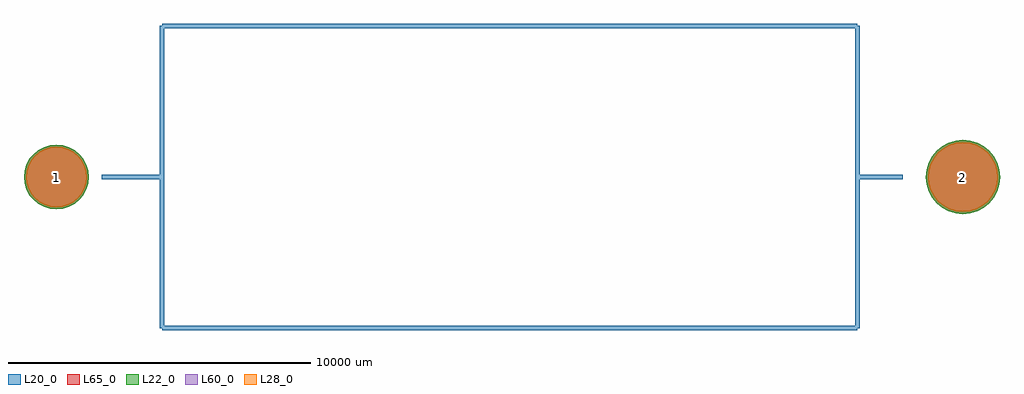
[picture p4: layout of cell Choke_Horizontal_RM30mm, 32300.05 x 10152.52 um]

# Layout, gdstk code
import gdstk
lib = gdstk.Library(unit=1e-6, precision=1e-09)
def P(c, l, *ps):  # polygons
    for p in ps: c.add(gdstk.Polygon(p, *l))
L20_0 = (20, 0)
L22_0 = (22, 0)
L28_0 = (28, 0)
L60_0 = (60, 0)
L65_0 = (65, 0)

choke_horizontal_rm30mm = lib.new_cell('Choke_Horizontal_RM30mm')
P(choke_horizontal_rm30mm, L22_0, [(16224.32,0),(16200.77,239.107),(16131.025,469.024),(16017.766,680.918),(15865.344,866.644),(15679.618,1019.066),(15467.724,1132.325),(15237.807,1202.07),(14998.7,1225.62),(14759.593,1202.07),(14529.676,1132.325),(14317.782,1019.066),(14132.056,866.644),(13979.634,680.918),(13866.375,469.024),(13796.63,239.107),(13773.08,0),(13796.63,-239.107),(13866.375,-469.024),(13979.634,-680.918),(14132.056,-866.644),(14317.782,-1019.066),(14529.676,-1132.325),(14759.593,-1202.07),(14998.7,-1225.62),(15237.807,-1202.07),(15467.724,-1132.325),(15679.618,-1019.066),(15865.344,-866.644),(16017.766,-680.918),(16131.025,-469.024),(16200.77,-239.107)],
  [(-13926.75,0),(-13947.396,209.623),(-14008.541,411.19),(-14107.834,596.955),(-14241.461,759.779),(-14404.285,893.406),(-14590.05,992.699),(-14791.617,1053.844),(-15001.24,1074.49),(-15210.863,1053.844),(-15412.43,992.699),(-15598.195,893.406),(-15761.019,759.779),(-15894.646,596.955),(-15993.939,411.19),(-16055.084,209.623),(-16075.73,0),(-16055.084,-209.623),(-15993.939,-411.19),(-15894.646,-596.955),(-15761.019,-759.779),(-15598.195,-893.406),(-15412.43,-992.699),(-15210.863,-1053.844),(-15001.24,-1074.49),(-14791.617,-1053.844),(-14590.05,-992.699),(-14404.285,-893.406),(-14241.461,-759.779),(-14107.834,-596.955),(-14008.541,-411.19),(-13947.396,-209.623)])
P(choke_horizontal_rm30mm, L28_0, [(16149.32,0),(16127.211,224.475),(16061.734,440.323),(15955.406,639.25),(15812.311,813.611),(15637.95,956.706),(15439.023,1063.034),(15223.175,1128.511),(14998.7,1150.62),(14774.225,1128.511),(14558.377,1063.034),(14359.45,956.706),(14185.089,813.611),(14041.994,639.25),(13935.666,440.323),(13870.189,224.475),(13848.08,0),(13870.189,-224.475),(13935.666,-440.323),(14041.994,-639.25),(14185.089,-813.611),(14359.45,-956.706),(14558.377,-1063.034),(14774.225,-1128.511),(14998.7,-1150.62),(15223.175,-1128.511),(15439.023,-1063.034),(15637.95,-956.706),(15812.311,-813.611),(15955.406,-639.25),(16061.734,-440.323),(16127.211,-224.475)],
  [(-14001.75,0),(-14020.955,194.991),(-14077.832,382.488),(-14170.194,555.287),(-14294.494,706.746),(-14445.953,831.046),(-14618.752,923.408),(-14806.249,980.285),(-15001.24,999.49),(-15196.231,980.285),(-15383.728,923.408),(-15556.527,831.046),(-15707.986,706.746),(-15832.286,555.287),(-15924.648,382.488),(-15981.525,194.991),(-16000.73,0),(-15981.525,-194.991),(-15924.648,-382.488),(-15832.286,-555.287),(-15707.986,-706.746),(-15556.527,-831.046),(-15383.728,-923.408),(-15196.231,-980.285),(-15001.24,-999.49),(-14806.249,-980.285),(-14618.752,-923.408),(-14445.953,-831.046),(-14294.494,-706.746),(-14170.194,-555.287),(-14077.832,-382.488),(-14020.955,-194.991)])
P(choke_horizontal_rm30mm, L60_0, [(16149.32,0),(16127.211,224.475),(16061.734,440.323),(15955.406,639.25),(15812.311,813.611),(15637.95,956.706),(15439.023,1063.034),(15223.175,1128.511),(14998.7,1150.62),(14774.225,1128.511),(14558.377,1063.034),(14359.45,956.706),(14185.089,813.611),(14041.994,639.25),(13935.666,440.323),(13870.189,224.475),(13848.08,0),(13870.189,-224.475),(13935.666,-440.323),(14041.994,-639.25),(14185.089,-813.611),(14359.45,-956.706),(14558.377,-1063.034),(14774.225,-1128.511),(14998.7,-1150.62),(15223.175,-1128.511),(15439.023,-1063.034),(15637.95,-956.706),(15812.311,-813.611),(15955.406,-639.25),(16061.734,-440.323),(16127.211,-224.475)],
  [(-14001.75,0),(-14020.955,194.991),(-14077.832,382.488),(-14170.194,555.287),(-14294.494,706.746),(-14445.953,831.046),(-14618.752,923.408),(-14806.249,980.285),(-15001.24,999.49),(-15196.231,980.285),(-15383.728,923.408),(-15556.527,831.046),(-15707.986,706.746),(-15832.286,555.287),(-15924.648,382.488),(-15981.525,194.991),(-16000.73,0),(-15981.525,-194.991),(-15924.648,-382.488),(-15832.286,-555.287),(-15707.986,-706.746),(-15556.527,-831.046),(-15383.728,-923.408),(-15196.231,-980.285),(-15001.24,-999.49),(-14806.249,-980.285),(-14618.752,-923.408),(-14445.953,-831.046),(-14294.494,-706.746),(-14170.194,-555.287),(-14077.832,-382.488),(-14020.955,-194.991)])
P(choke_horizontal_rm30mm, L65_0, [(16224.32,0),(16200.77,239.107),(16131.025,469.024),(16017.766,680.918),(15865.344,866.644),(15679.618,1019.066),(15467.724,1132.325),(15237.807,1202.07),(14998.7,1225.62),(14759.593,1202.07),(14529.676,1132.325),(14317.782,1019.066),(14132.056,866.644),(13979.634,680.918),(13866.375,469.024),(13796.63,239.107),(13773.08,0),(13796.63,-239.107),(13866.375,-469.024),(13979.634,-680.918),(14132.056,-866.644),(14317.782,-1019.066),(14529.676,-1132.325),(14759.593,-1202.07),(14998.7,-1225.62),(15237.807,-1202.07),(15467.724,-1132.325),(15679.618,-1019.066),(15865.344,-866.644),(16017.766,-680.918),(16131.025,-469.024),(16200.77,-239.107)],
  [(-13926.75,0),(-13947.396,209.623),(-14008.541,411.19),(-14107.834,596.955),(-14241.461,759.779),(-14404.285,893.406),(-14590.05,992.699),(-14791.617,1053.844),(-15001.24,1074.49),(-15210.863,1053.844),(-15412.43,992.699),(-15598.195,893.406),(-15761.019,759.779),(-15894.646,596.955),(-15993.939,411.19),(-16055.084,209.623),(-16075.73,0),(-16055.084,-209.623),(-15993.939,-411.19),(-15894.646,-596.955),(-15761.019,-759.779),(-15598.195,-893.406),(-15412.43,-992.699),(-15210.863,-1053.844),(-15001.24,-1074.49),(-14791.617,-1053.844),(-14590.05,-992.699),(-14404.285,-893.406),(-14241.461,-759.779),(-14107.834,-596.955),(-14008.541,-411.19),(-13947.396,-209.623)])
choke_horizontal_rm30mm.add(gdstk.FlexPath([(-11501.12,0),(-11501.12,5001.26)], 149.998, ends="flush", simple_path=True, layer=20, datatype=0))  # L20_0
choke_horizontal_rm30mm.add(gdstk.FlexPath([(-11501.12,0),(-11501.12,-5001.26)], 149.998, ends="flush", simple_path=True, layer=20, datatype=0))  # L20_0
choke_horizontal_rm30mm.add(gdstk.FlexPath([(11501.12,5001.26),(-11501.12,5001.26)], 149.998, ends="flush", simple_path=True, layer=20, datatype=0))  # L20_0
choke_horizontal_rm30mm.add(gdstk.FlexPath([(11501.12,0),(11501.12,5001.26)], 149.998, ends="flush", simple_path=True, layer=20, datatype=0))  # L20_0
choke_horizontal_rm30mm.add(gdstk.FlexPath([(11501.12,-5001.26),(-11501.12,-5001.26)], 149.998, ends="flush", simple_path=True, layer=20, datatype=0))  # L20_0
choke_horizontal_rm30mm.add(gdstk.FlexPath([(11501.12,0),(11501.12,-5001.26)], 149.998, ends="flush", simple_path=True, layer=20, datatype=0))  # L20_0
choke_horizontal_rm30mm.add(gdstk.FlexPath([(11501.12,0),(12999.72,0)], 149.998, ends="flush", simple_path=True, layer=20, datatype=0))  # L20_0
choke_horizontal_rm30mm.add(gdstk.FlexPath([(-11501.12,0),(-13500.1,0)], 149.998, ends="flush", simple_path=True, layer=20, datatype=0))  # L20_0
choke_horizontal_rm30mm.add(gdstk.Label('2', (14998.7,0), layer=28, texttype=0))
choke_horizontal_rm30mm.add(gdstk.Label('1', (-15001.24,0), layer=28, texttype=0))
choke_horizontal_rm30mm.add(gdstk.Label('type', (0,-7000.24), layer=9, texttype=0))
choke_horizontal_rm30mm.add(gdstk.Label('devicename', (0,7500.62), layer=9, texttype=0))

lib.write_gds('Choke_Horizontal_RM30mm.gds')
